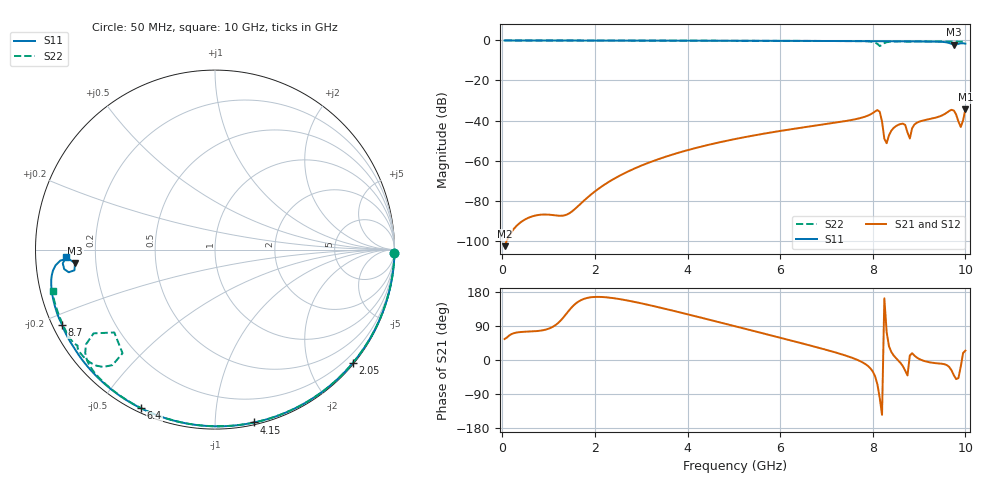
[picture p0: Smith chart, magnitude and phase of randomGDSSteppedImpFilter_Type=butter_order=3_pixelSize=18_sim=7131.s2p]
! freq	dB(S11)	phase(S11)	dB(S12)	phase(S12)
!  dB(S21)	phase(S21)	dB(S22)	phase(S22)
!S-par simulation data
#  GHz  S  DB  R 50
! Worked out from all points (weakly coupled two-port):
!   200 points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, 50 MHz to 10 GHz, reference 50 ohm
!   highest |S21| = -34.50 dB at 10 GHz (marker M1); lowest = -102.8 dB at 50 MHz (marker M2)
!   lowest |S11| = -2.1 dB at 9.75 GHz (marker M3), VSWR 8.23, Z = 6.09 - j2.37 ohm
!   |S11| at or under -10 dB: nowhere
!   |S22| runs from -2.8 to 0.0 dB; largest |S21 - S12| = 0
!   S11 on the Smith chart (normalised r, x): 50 MHz: open; 2.05 GHz: 0.03, -2.79; 4.15 GHz: 0.02, -1.25; 6.4 GHz: 0.02, -0.64; 8.7 GHz: 0.03, -0.23; 10 GHz: 0.09, -0.02
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0.05  -0.00 -1.0  -102.79 55.3  -102.79 55.3  -0.00 -1.0
1.75  -0.04 -33.8  -80.33 160.7  -80.33 160.7  -0.04 -33.1
2.05  -0.05 -39.4  -74.56 166.6  -74.56 166.6  -0.05 -38.6
3.4  -0.08 -64.1  -59.08 138.5  -59.08 138.5  -0.08 -62.6
4.15  -0.11 -77.2  -53.89 116.1  -53.89 116.1  -0.11 -75.5
5.05  -0.14 -92.6  -49.15 88.4  -49.15 88.4  -0.14 -90.3
6.4  -0.22 -114.9  -43.79 46.2  -43.79 46.2  -0.21 -111.8
6.7  -0.24 -119.9  -42.76 36.6  -42.76 36.6  -0.23 -116.5
7.75  -0.32 -137.2  -38.66 -4.3  -38.66 -4.3  -0.36 -134.3
8.1  -0.37 -143.1  -34.79 -64.1  -34.79 -64.1  -1.70 -145.4
8.15  -0.38 -144.0  -35.61 -100.1  -35.61 -100.1  -2.77 -140.5
8.25  -0.38 -145.6  -49.14 162.8  -49.14 162.8  -1.31 -131.6
8.3  -0.38 -146.5  -51.35 73.3  -51.35 73.3  -0.88 -133.7
8.35  -0.39 -147.4  -47.38 36.3  -47.38 36.3  -0.68 -135.6
8.5  -0.40 -150.0  -42.82 5.1  -42.82 5.1  -0.50 -139.9
8.7  -0.44 -153.6  -42.18 -28.0  -42.18 -28.0  -0.52 -144.4
8.8  -0.45 -155.3  -48.96 11.8  -48.96 11.8  -0.58 -145.3
8.85  -0.45 -156.3  -43.82 18.0  -43.82 18.0  -0.52 -146.1
8.95  -0.46 -158.2  -41.14 6.6  -41.14 6.6  -0.48 -147.9
9.75  -2.12 -174.5  -35.00 -39.9  -35.00 -39.9  -0.53 -161.3
9.9  -1.44 -172.6  -43.24 -17.4  -43.24 -17.4  -0.56 -163.8
10  -1.61 -177.2  -34.50 24.8  -34.50 24.8  -0.60 -165.5
